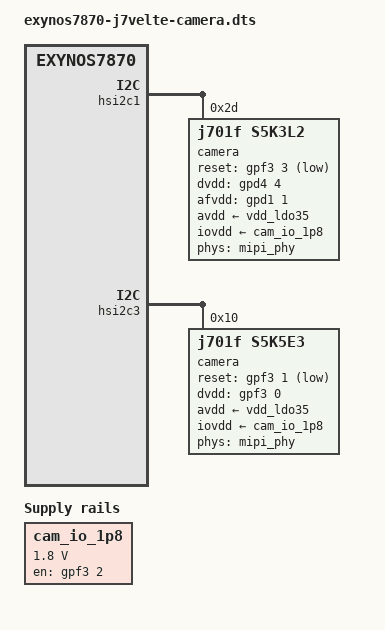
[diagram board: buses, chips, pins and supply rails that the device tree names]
// SPDX-License-Identifier: GPL-2.0-only
/* Written by Claude 2026-10-10 (goal: a working camera). Framebuffer tree
 * plus the rear camera sensor on its I2C bus, for the first milestone only:
 * power it up in the vendor's order and read its identity.
 *
 * From the factory device tree (build/kernel/j701f-live.dtb) and the vendor
 * module file (build/kernel/vendor-camera-reference/):
 *   sensor   Samsung S5K3L2, 13 MP, I2C address 0x2d on hsi2c@138a0000
 *   AVDD     2.8 V, PMIC LDO35 ("VDD_CAM_SENSOR_A2P8")
 *   DVDD     1.2 V, switched by gpd4-4
 *   IO       1.8 V, switched by gpf3-2
 *   AF motor 2.8 V, switched by gpd1-1 (DW9807 actuator, not used yet: it is on
 *   hsi2c@138b0000 at 0x0c, not on this sensor's bus; the factory node name "@18" is
 *   the 8-bit address)
 *   reset    gpf3-3, low = in reset
 *   MCLK     26 MHz on gpe0-0 from the MIF "sensor 0" clock
 * The compatible is the project's own probe driver (tools/kmod/j701f_cam_probe.c);
 * nothing here captures an image.
 */
#include "exynos7870-j7velte-fbmem.dts"

/ {
    /* The 1.8 V interface supply of both sensors is one switch (gpf3-2): as a
     * regulator it can be shared; requested as a GPIO by two devices it could
     * not (and a "non-exclusive" request ended in a kernel oops). */
    cam_io_1p8: regulator-cam-io-1p8 {
        compatible = "regulator-fixed";
        regulator-name = "CAM_IO_1P8";
        regulator-min-microvolt = <1800000>;
        regulator-max-microvolt = <1800000>;
        gpio = <&gpf3 2 GPIO_ACTIVE_HIGH>;
        enable-active-high;
    };
};

&hsi2c1 {
    status = "okay";

    camera@2d {
        /* j701f_camera.c; the second name lets the earlier test modules bind */
        compatible = "j701f,s5k3l2", "j701f,s5k3l2-probe";
        orientation = <1>;      /* back */
        rotation = <270>;       /* 90 gave the owner upside-down photographs */
        reg = <0x2d>;
        /* "cam" and "isp" feed the camera block's own clock controller (cmu_isp,
         * disabled in this tree); the frame test switches them on itself */
        clocks = <&cmu_mif CLK_GOUT_MIF_CMU_ISP_SENSOR0>,
                 <&cmu_mif CLK_GOUT_MIF_CMU_ISP_CAM>,
                 <&cmu_mif CLK_GOUT_MIF_CMU_ISP_ISP>;
        clock-names = "mclk", "cam", "isp";
        pinctrl-names = "default";
        pinctrl-0 = <&fimc_is_mclk0_fn>;
        avdd-supply = <&vdd_ldo35>;
        reset-gpios = <&gpf3 3 GPIO_ACTIVE_LOW>;
        dvdd-gpios = <&gpd4 4 GPIO_ACTIVE_HIGH>;
        iovdd-supply = <&cam_io_1p8>;
        afvdd-gpios = <&gpd1 1 GPIO_ACTIVE_HIGH>;
        /* the receiver's D-PHY (CSIS0), for the frame test (j701f_cam_frame.c) */
        phys = <&mipi_phy 0>;
        phy-names = "csis";
    };
};

/* Front sensor: Samsung S5K5E3, 5 MP, I2C 0x10 on hsi2c@138c0000, two data
 * lanes into the second receiver (0x14460000, D-PHY "CSIS1"). Same AVDD and
 * interface-supply switch as the rear sensor; DVDD 1.2 V switched by gpf3-0;
 * reset gpf3-1; MCLK 26 MHz on gpe0-1 from the MIF "sensor 1" clock. */
&hsi2c3 {
    status = "okay";

    camera@10 {
        compatible = "j701f,s5k5e3", "j701f,s5k5e3-frame";
        orientation = <0>;      /* front */
        rotation = <90>;        /* assumed: the opposite of the rear sensor */
        reg = <0x10>;
        clocks = <&cmu_mif CLK_GOUT_MIF_CMU_ISP_SENSOR1>,
                 <&cmu_mif CLK_GOUT_MIF_CMU_ISP_CAM>,
                 <&cmu_mif CLK_GOUT_MIF_CMU_ISP_ISP>;
        clock-names = "mclk", "cam", "isp";
        pinctrl-names = "default";
        pinctrl-0 = <&fimc_is_mclk1_fn>;
        avdd-supply = <&vdd_ldo35>;
        reset-gpios = <&gpf3 1 GPIO_ACTIVE_LOW>;
        dvdd-gpios = <&gpf3 0 GPIO_ACTIVE_HIGH>;
        iovdd-supply = <&cam_io_1p8>;
        phys = <&mipi_phy 2>;
        phy-names = "csis";
    };
};
